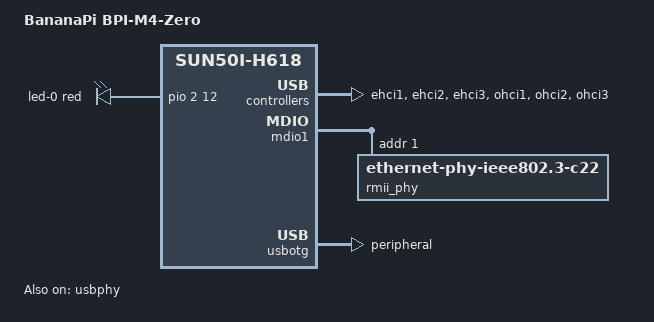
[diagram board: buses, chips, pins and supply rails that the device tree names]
// SPDX-License-Identifier: (GPL-2.0+ OR MIT)
/*
 * Copyright (c) 2025 Patrick Yavitz <pyavitz@armbian.com>
 */

/dts-v1/;

#include "sun50i-h618-bananapi-m4.dtsi"

/ {
	model = "BananaPi BPI-M4-Zero";
	compatible = "sinovoip,bpi-m4-zero", "allwinner,sun50i-h618";

	aliases {
		ethernet0 = &emac1;
		i2c0 = &i2c0;
		i2c1 = &i2c1;
		i2c3 = &i2c3;
		i2c4 = &i2c4;
		serial4 = &uart4;
		serial5 = &uart5;
		spi1 = &spi1;
	};

	leds {
		compatible = "gpio-leds";

		led-0 {
			color = <LED_COLOR_ID_RED>;
			function = LED_FUNCTION_STATUS;
			gpios = <&pio 2 12 GPIO_ACTIVE_HIGH>;	/* PC12 */
			linux,default-trigger = "heartbeat";
		};
	};
};

/* Connected to an on-board RTL8821CU USB WiFi chip. */
&ehci1 {
	status = "okay";
};

&ehci2 {
	status = "okay";
};

&ehci3 {
	status = "okay";
};

&emac1 {
	status = "disabled";
	pinctrl-names = "default";
	pinctrl-0 = <&rmii_pins>;
	phy-mode = "rmii";
	phy-handle = <&rmii_phy>;
	phy-supply = <&reg_dldo1>;
	allwinner,rx-delay-ps = <3100>;
	allwinner,tx-delay-ps = <700>;
};

&mdio1 {
	rmii_phy: ethernet-phy@1 {
		compatible = "ethernet-phy-ieee802.3-c22";
		reg = <1>;
	};
};

/* SDIO */
&mmc1 {
	status = "disabled";
	bus-width = <4>;
	max-frequency = <100000000>;

	non-removable;
	disable-wp;

	/* WiFi firmware requires power to be kept while in suspend */
	keep-power-in-suspend;

	mmc-pwrseq = <&wifi_pwrseq>;

	cd-gpios = <&pio 6 15 GPIO_ACTIVE_HIGH>; /* PG15 */
	vmmc-supply = <&reg_vcc3v3>;

	sdio: wifi@1 {
		reg = <1>;
		compatible = "brcm,bcm4329-fmac";
	};
};

&ohci1 {
	status = "okay";
};

&ohci2 {
	status = "okay";
};

&ohci3 {
	status = "okay";
};

&usbotg {
	status = "okay";
	dr_mode = "peripheral";
};

&usbphy {
	status = "okay";
	usb1_vbus-supply = <&reg_usb_vbus>;
};
